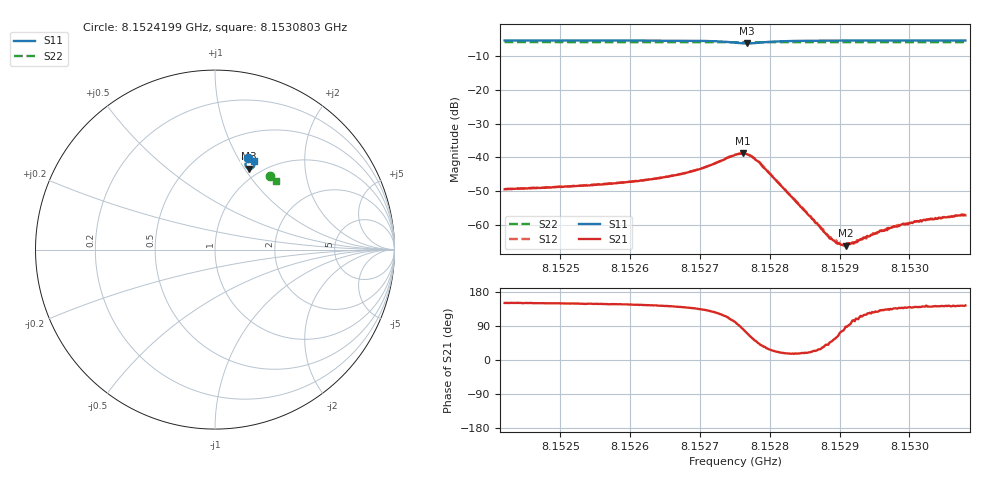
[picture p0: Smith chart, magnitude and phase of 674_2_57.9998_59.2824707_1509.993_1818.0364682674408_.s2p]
#  HZ  S  RI  R  50.00
! Rohde & Schwarz Vector Network Analyzer
! Rohde-Schwarz,ZNB20-2Port,1311601062101988,3.16
! Created: UTC 3/21/2024, 1:20:29 AM
! freq[Hz]  re:S11  im:S11  re:S21  im:S21  re:S12  im:S12  re:S22  im:S22
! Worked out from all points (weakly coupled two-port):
!   401 points, 8.1524199 GHz to 8.1530803 GHz, reference 50 ohm
!   highest |S21| = -38.86 dB at 8.1527617 GHz (marker M1); lowest = -66.2 dB at 8.1529086 GHz (marker M2)
!   lowest |S11| = -6.2 dB at 8.1527666 GHz (marker M3), VSWR 2.91, Z = 44.1 + j52.1 ohm
!   |S11| at or under -10 dB: nowhere
!   |S22| runs from -5.9 to -5.8 dB; largest |S21 - S12| = 0.00035
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8.15241992e9  0.1857 0.5078  -0.00291 0.00164  -0.00291 0.00167  0.3078 0.4086
8.15253054e9  0.1949 0.5041  -0.00323 0.00198  -0.00322 0.00201  0.3134 0.4041
8.15259328e9  0.2009 0.5014  -0.00354 0.00233  -0.00352 0.00242  0.3164 0.4015
8.15264116e9  0.2065 0.4978  -0.0039 0.00289  -0.00395 0.00296  0.319 0.3995
8.15267583e9  0.2116 0.4936  -0.00435 0.00372  -0.00435 0.00382  0.3207 0.3978
8.1527039e9  0.2164 0.487  -0.00471 0.00505  -0.00465 0.00513  0.322 0.3964
8.15275013e9  0.2111 0.4559  -0.00199 0.0107  -0.00179 0.0108  0.3235 0.3935
8.15276169e9  0.1949 0.4497  0.00169 0.0113  0.00175 0.0114  0.3234 0.3931
8.15276664e9  0.1867 0.4509  0.00347 0.0106  0.00347 0.0108  0.3233 0.393
8.1527749e9  0.1755 0.4586  0.00544 0.0085  0.00545 0.00861  0.3234 0.3933
8.15278481e9  0.1702 0.4718  0.00621 0.0058  0.00618 0.0057  0.3239 0.3934
8.15286076e9  0.1939 0.4996  0.00112 0.000457  0.00112 0.000449  0.3288 0.391
8.15288717e9  0.199 0.4999  0.000415 0.000457  0.000465 0.000455  0.33 0.3899
8.15290038e9  0.2011 0.4996  0.00016 0.00049  0.00023 0.000483  0.3307 0.3892
8.15290533e9  0.2018 0.4996  0.000106 0.000479  0.000125 0.000493  0.3311 0.3891
8.15290864e9  0.2023 0.4994  1.8e-05 0.000487  7.02e-05 0.000493  0.3313 0.3889
8.15291854e9  0.2036 0.4992  -0.000137 0.000529  -8.27e-05 0.00052  0.3317 0.3886
8.15294661e9  0.207 0.4985  -0.000423 0.000569  -0.000379 0.000594  0.3331 0.3874
8.15297138e9  0.2096 0.4979  -0.00059 0.000644  -0.000592 0.000662  0.3343 0.3862
8.15298128e9  0.2107 0.4976  -0.000675 0.000648  -0.000691 0.000678  0.3347 0.3858
8.15302256e9  0.2144 0.4964  -0.000914 0.000745  -0.00088 0.000745  0.3368 0.384
8.15308035e9  0.2192 0.4947  -0.00111 0.000809  -0.00113 0.000838  0.3394 0.3816
